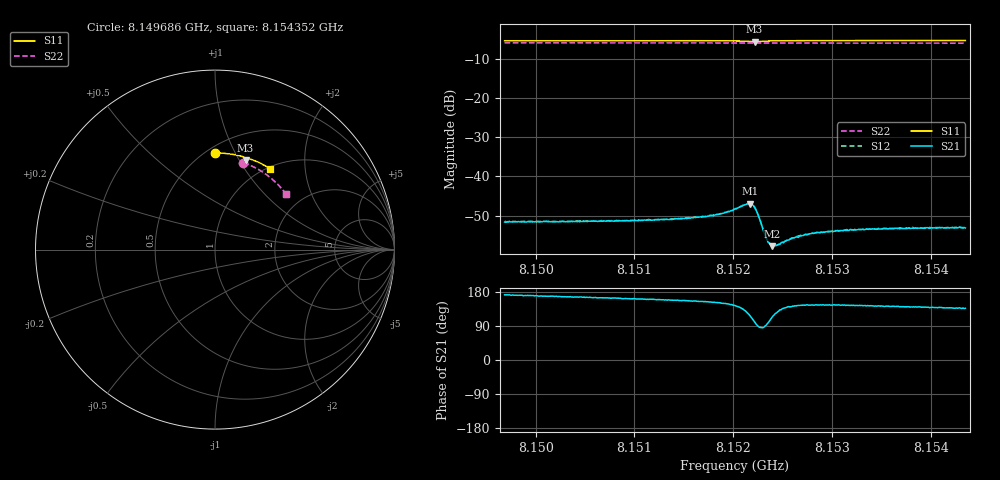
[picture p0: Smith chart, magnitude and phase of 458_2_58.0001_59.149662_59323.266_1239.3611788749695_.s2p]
#  HZ  S  RI  R  50.00
! Rohde & Schwarz Vector Network Analyzer
! Rohde-Schwarz,ZNB20-2Port,1311601062101988,3.16
! Created: UTC 3/21/2024, 1:10:51 AM
! freq[Hz]  re:S11  im:S11  re:S21  im:S21  re:S12  im:S12  re:S22  im:S22
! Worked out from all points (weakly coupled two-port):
!   401 points, 8.149686 GHz to 8.154352 GHz, reference 50 ohm
!   highest |S21| = -46.93 dB at 8.152171 GHz (marker M1); lowest = -57.8 dB at 8.152392 GHz (marker M2)
!   lowest |S11| = -5.6 dB at 8.152217 GHz (marker M3), VSWR 3.22, Z = 38.6 + j53.2 ohm
!   |S11| at or under -10 dB: nowhere
!   |S22| runs from -6.0 to -5.8 dB; largest |S21 - S12| = 0.00011
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8.1496863e9  0.00221 0.5377  -0.00259 0.000372  -0.00265 0.000445  0.1581 0.4847
8.1504678e9  0.0567 0.5361  -0.00258 0.000649  -0.00257 0.0007  0.2047 0.4658
8.1512493e9  0.111 0.5287  -0.0026 0.000981  -0.00265 0.00105  0.249 0.4424
8.1517042e9  0.143 0.5213  -0.00275 0.00134  -0.00275 0.00137  0.2733 0.4269
8.1518558e9  0.154 0.518  -0.00287 0.00158  -0.00286 0.00163  0.2814 0.4214
8.1520191e9  0.1666 0.5122  -0.00308 0.00228  -0.0031 0.00234  0.2897 0.415
8.1521241e9  0.1733 0.505  -0.00278 0.00336  -0.00277 0.00344  0.2951 0.4109
8.1521708e9  0.1734 0.5002  -0.00203 0.00402  -0.00198 0.00408  0.2972 0.4091
8.1521941e9  0.172 0.4986  -0.00142 0.00413  -0.00137 0.0042  0.2983 0.4082
8.1522174e9  0.1702 0.4983  -0.000697 0.00395  -0.000659 0.00403  0.2993 0.4075
8.1522524e9  0.1683 0.5001  3.87e-05 0.00325  7.29e-05 0.00327  0.3009 0.4064
8.1523341e9  0.1725 0.5062  -4.97e-05 0.00163  -4.19e-05 0.00164  0.3052 0.4033
8.1523691e9  0.1759 0.5072  -0.000323 0.00137  -0.000287 0.00135  0.3069 0.402
8.1523924e9  0.1779 0.5075  -0.000484 0.00119  -0.000459 0.00122  0.3082 0.4011
8.1524157e9  0.1802 0.5075  -0.000634 0.00115  -0.00061 0.00118  0.3093 0.4001
8.1524507e9  0.1832 0.5073  -0.000812 0.00107  -0.000804 0.00105  0.311 0.3988
8.152614e9  0.1962 0.5047  -0.00129 0.00101  -0.00129 0.001  0.3191 0.392
8.1526607e9  0.1996 0.5035  -0.00134 0.000982  -0.00139 0.00104  0.3212 0.3902
8.1528007e9  0.2094 0.5001  -0.00155 0.00107  -0.00154 0.00111  0.3279 0.3842
8.1531739e9  0.234 0.4898  -0.00166 0.00119  -0.0017 0.00122  0.3451 0.3682
8.1535822e9  0.2599 0.4777  -0.0017 0.00136  -0.00166 0.00134  0.363 0.3496
8.154352e9  0.3059 0.4508  -0.00159 0.00151  -0.00161 0.00156  0.3937 0.3124
